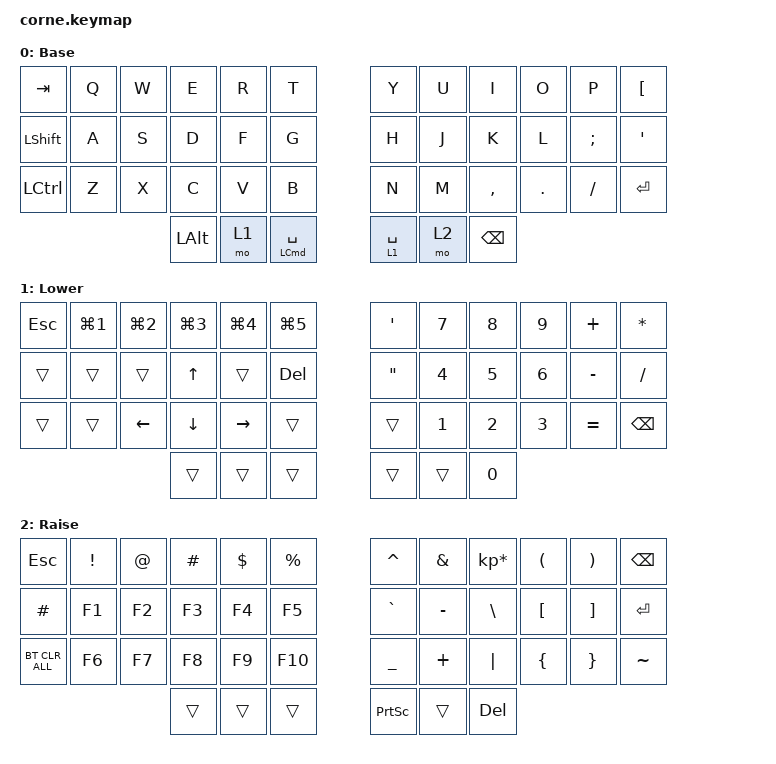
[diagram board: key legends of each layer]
/*
 * Copyright (c) 2020 The ZMK Contributors
 *
 * SPDX-License-Identifier: MIT
 */
//Layers 

#define Base 0
#define Lower 1
#define Raise 2
#define Funct 3

// #define block
// #define SCSH &kp LS(LG(NUMBER_4))

#include <behaviors.dtsi>
#include <dt-bindings/zmk/bt.h>
#include <dt-bindings/zmk/keys.h>

/ {
    behaviors {
        lslc: lslc {
            compatible = "zmk,behavior-tap-dance";
            label = "LSLC";
            #binding-cells = <0>;
            tapping-term-ms = <200>;
            bindings = <&kp LEFT_SHIFT>, <&kp LCTRL>;
        };

        rsra: rsra {
            compatible = "zmk,behavior-tap-dance";
            label = "RSRA";
            #binding-cells = <0>;
            tapping-term-ms = <200>;
            bindings = <&kp RIGHT_SHIFT>, <&kp RALT>;
        };

        mo13: mo13 {
            compatible = "zmk,behavior-tap-dance";
            label = "MO13";
            #binding-cells = <0>;
            bindings = <&mo 1>, <&mo 0>;
        };
    };

    macros {
        ae: ae {
            compatible = "zmk,behavior-macro";
            label = "AE";
            #binding-cells = <0>;
            bindings = <&kp DOUBLE_QUOTES &kp A>;
        };

        oe: oe {
            compatible = "zmk,behavior-macro";
            label = "OE";
            #binding-cells = <0>;
            bindings = <&kp DOUBLE_QUOTES &kp O>;
        };

        ue: ue {
            compatible = "zmk,behavior-macro";
            label = "UE";
            #binding-cells = <0>;
            bindings = <&kp DOUBLE_QUOTES &kp U>;
        };
    };

    combos {
        compatible = "zmk,combos";

        FunctSwitch {
            bindings = <&kp CAPSLOCK>;
            key-positions = <37 40>;
        };

        EngCombo {
            bindings = <&kp LS(LA(KP_NUMBER_1))>;
            key-positions = <1 38>;
        };
    };

    keymap {
        compatible = "zmk,keymap";

        default_layer {
            label = "Base";
            bindings = <
&kp TAB           &kp Q  &kp W  &kp E         &kp R  &kp T                   &kp Y        &kp U  &kp I          &kp O    &kp P     &kp LEFT_BRACKET
&kp LEFT_SHIFT    &kp A  &kp S  &kp D         &kp F  &kp G                   &kp H        &kp J  &kp K          &kp L    &kp SEMI  &kp APOS
&kp LEFT_CONTROL  &kp Z  &kp X  &kp C         &kp V  &kp B                   &kp N        &kp M  &kp COMMA      &kp DOT  &kp FSLH  &kp ENTER
                                &kp LEFT_ALT  &mo 1  &mt LEFT_COMMAND SPACE  &lt 1 SPACE  &mo 2  &kp BACKSPACE
            >;
        };

        lower_layer {
            label = "Lower";
            bindings = <
&kp ESC  &kp LG(NUMBER_1)  &kp LG(NUMBER_2)  &kp LG(NUMBER_3)  &kp LG(NUMBER_4)  &kp LG(N5)  &kp APOSTROPHE     &kp N7        &kp N8        &kp N9        &kp PLUS   &kp ASTERISK
&trans   &trans            &trans            &kp UP_ARROW      &trans            &kp DELETE  &kp DOUBLE_QUOTES  &kp NUMBER_4  &kp NUMBER_5  &kp NUMBER_6  &kp MINUS  &kp SLASH
&trans   &trans            &kp LEFT_ARROW    &kp DOWN_ARROW    &kp RIGHT_ARROW   &trans      &trans             &kp NUMBER_1  &kp NUMBER_2  &kp NUMBER_3  &kp EQUAL  &kp BACKSPACE
                                             &trans            &trans            &trans      &trans             &trans        &kp NUMBER_0
            >;
        };

        raise_layer {
            label = "Raise";
            bindings = <
&kp ESC         &kp EXCL  &kp AT  &kp HASH  &kp DLLR  &kp PRCNT  &kp CARET        &kp AMPS   &kp KP_MULTIPLY  &kp LPAR  &kp RPAR  &kp BSPC
&kp HASH        &kp F1    &kp F2  &kp F3    &kp F4    &kp F5     &kp GRAVE        &kp MINUS  &kp BSLH         &kp LBKT  &kp RBKT  &kp RETURN
&bt BT_CLR_ALL  &kp F6    &kp F7  &kp F8    &kp F9    &kp F10    &kp UNDER        &kp PLUS   &kp PIPE         &kp LBRC  &kp RBRC  &kp TILDE
                                  &trans    &trans    &trans     &kp PRINTSCREEN  &trans     &kp DELETE
            >;
        };
    };
};
